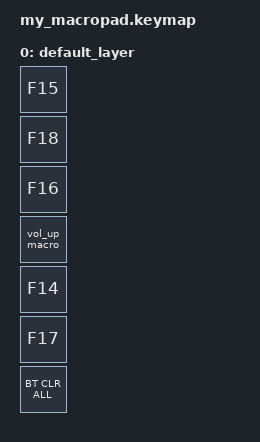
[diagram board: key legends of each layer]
#include <behaviors.dtsi>
#include <dt-bindings/zmk/keys.h>
#include <dt-bindings/zmk/bt.h>


/ {
    // 매크로 동작을 정의하기 위한 'behaviors' 노드를 추가합니다.
    behaviors {
        // 볼륨 업 매크로를 정의합니다. 이름은 'vol_up_macro'로 지정했습니다.
        vol_up_macro: vol_up_macro {
            compatible = "zmk,behavior-macro";
            label = "VOL_UP_MACRO";
            #binding-cells = <0>;
            bindings = <&macro_tap &kp C_VOL_UP>; // 이 매크로는 C_VOL_UP 키를 한 번 '탭'하는 동작을 합니다.
        };
    };

    keymap {
        compatible = "zmk,keymap";

        // --- 레이어 0: 기본 레이어 ---
        default_layer {
            bindings = <
                // 1번 키
                &kp F15
                // 2번 키
                &kp F18
                // 3번 키
                &kp F16
                // 4번 키: 기존 &kp C_VOL_UP 대신 새로 만든 매크로를 사용합니다.
                &vol_up_macro
                // 5번 키
                &kp F14
                // 6번 키
                &kp F17
                // 7번 키
                &bt BT_CLR_ALL
            >;
        };
    };
};
